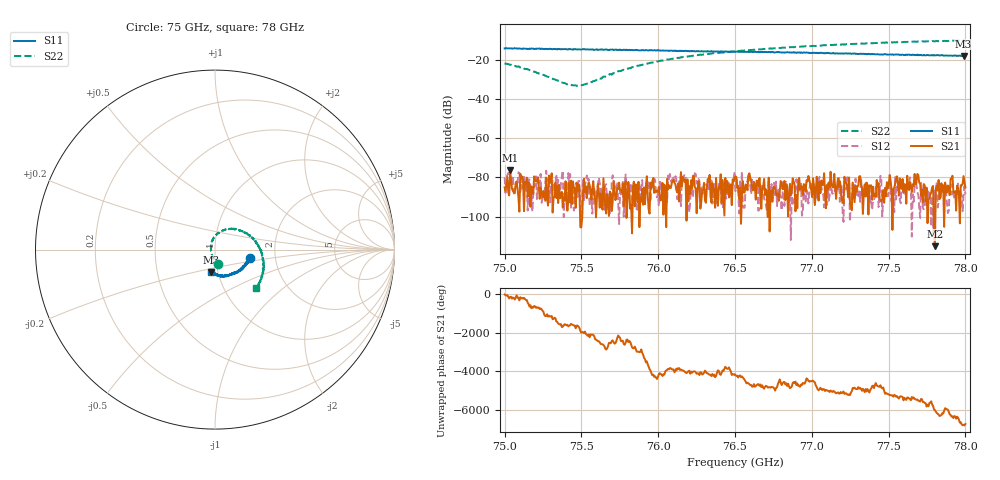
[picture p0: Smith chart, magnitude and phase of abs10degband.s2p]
# Hz S MA R 50
! CMT, C4420, 21421029, 25.1.2/3
! Date: 8/7/2025 5:55:13 PM
! Data: Format (Calibration Info)
! Freq	S33:Mag/Ang(F2)	S43:Mag/Ang(F2)	S34:Mag/Ang(F2)	S44:Mag/Ang(F2)
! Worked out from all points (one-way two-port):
!   500 points, 75 GHz to 78 GHz, reference 50 ohm
!   highest |S21| = -76.27 dB at 75.036 GHz (marker M1); lowest = -115.2 dB at 77.802 GHz (marker M2)
!   lowest |S11| = -17.9 dB at 77.988 GHz (marker M3), VSWR 1.29, Z = 46.5 - j11.8 ohm
!   |S11| at or under -10 dB: start of sweep to end of sweep
!   |S22| runs from -33.2 to -10.0 dB; largest |S21 - S12| = 0.00018
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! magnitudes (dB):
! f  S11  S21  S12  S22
! 75 GHz  -14.0  -85.1  -79.9  -21.7
! 75.036 GHz  -14.0  -76.3  -79.3  -22.5
! 75.072 GHz  -14.0  -83.1  -84.7  -23.0
! 75.084 GHz  -14.1  -85.7  -82.8  -23.4
! 75.144 GHz  -14.3  -80.1  -83.5  -24.6
! 75.295 GHz  -14.2  -82.9  -92.8  -28.9
! 75.409 GHz  -14.6  -97.0  -96.5  -32.4
! 75.505 GHz  -14.5  -100.9  -90.7  -32.8
! 75.752 GHz  -14.6  -86.6  -86.9  -25.6
! 76.004 GHz  -15.1  -84.9  -94.9  -20.5
! 76.503 GHz  -15.7  -79.5  -87.1  -15.5
! 77.002 GHz  -16.4  -90.1  -87.0  -12.8
! 77.104 GHz  -16.3  -86.4  -83.3  -12.4
! 77.134 GHz  -16.5  -84.9  -88.4  -12.3
! 77.164 GHz  -16.5  -84.6  -87.2  -12.1
! 77.501 GHz  -17.3  -83.8  -87.7  -11.1
! 77.651 GHz  -17.4  -87.5  -110.3  -10.6
! 77.681 GHz  -17.4  -82.4  -83.7  -10.6
! 77.711 GHz  -17.4  -89.3  -82.4  -10.6
! 77.802 GHz  -17.6  -115.2  -94.9  -10.4
! 77.988 GHz  -17.9  -79.3  -89.5  -10.0
! 78 GHz  -17.9  -85.1  -88.6  -10.0
